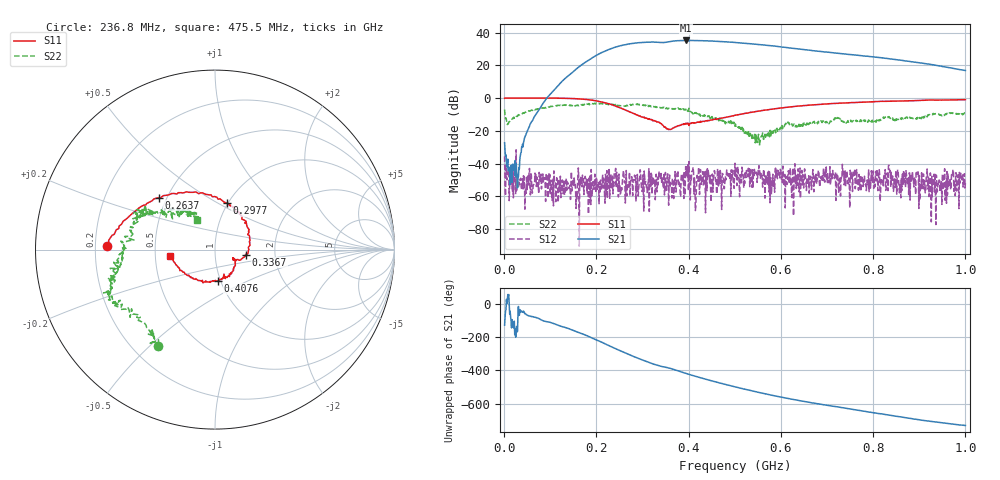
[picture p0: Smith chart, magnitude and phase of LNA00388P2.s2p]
! Created with skrf 1.9.0 (http://scikit-rf.org).
# Hz S RI R 50.0
!freq ReS11 ImS11 ReS21 ImS21 ReS12 ImS12 ReS22 ImS22
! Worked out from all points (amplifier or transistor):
!   1001 points, 1 MHz to 1 GHz, reference 50 ohm
!   highest |S21| = 35.2 dB at 394.6 MHz (marker M1)
!   |S21| within 3 dB of that: 255.7 MHz to 570.7 MHz (315 MHz wide, 76.2 % of centre)
!   unconditionally stable (mu >= 1): 243.9 MHz to 294.5 MHz; 295.5 MHz to 400.5 MHz; 400.7 MHz to end of sweep (the widest 3 of 41)
!   at 166.8 MHz: K = 2.17, MAG = 30.1 dB, |S12| = -52.5 dB
!   at 500.5 MHz: K = 1.10, MAG = 35.0 dB, |S12| = -39.8 dB
!   at 1 GHz: K = 4.76, MAG = 24.7 dB, |S12| = -52.1 dB
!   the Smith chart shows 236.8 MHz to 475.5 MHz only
!   S11 on the Smith chart (normalised r, x): 236.8 MHz: 0.25, +0.02; 263.7 MHz: 0.45, +0.32; 297.7 MHz: 0.99, +0.55; 336.7 MHz: 1.42, -0.08; 407.6 MHz: 0.97, -0.35; 475.5 MHz: 0.60, -0.04
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1000000  0.9841 -0.0107  -0.0251 -0.0354  -0.00925 0.0139  0.3633 0.2633
1.09891e8  0.5208 -0.849  -0.8829 -1.63  -0.00242 -0.00109  0.436 -0.38
1.67833e8  -0.2085 -0.9061  -10.27 -0.6304  -0.00248 -0.00188  0.0267 -0.615
2.07793e8  -0.6425 -0.4444  -16.45 16.08  0.00107 0.0006  -0.2088 -0.6545
2.36764e8  -0.6013 0.0206  -4.917 33.76  -0.00174 -0.0021  -0.3153 -0.5393
2.63737e8  -0.3142 0.2891  18.34 38.52  -0.00147 -0.00156  -0.458 -0.3587
2.97703e8  0.0645 0.2596  44.61 21.08  0.00167 -0.000772  -0.5792 -0.2046
3.16684e8  0.1773 0.1346  50.51 5.066  -0.000323 0.00263  -0.5524 -0.1038
3.34666e8  0.1855 -0.0121  49.32 -9.444  -0.00126 0.00313  -0.5133 -0.012
3.36664e8  0.1738 -0.0279  48.92 -10.89  0.00118 0.00362  -0.5183 -0.0189
3.68632e8  0.1121 -0.0602  45.49 -31.2  -0.00119 0.0025  -0.4401 0.1786
3.94606e8  0.0756 -0.1446  30.07 -48.68  -0.00325 0.00278  -0.4075 0.1867
4.07593e8  0.0156 -0.1744  20.1 -53.26  0.00392 0.00443  -0.2991 0.203
4.39561e8  -0.1224 -0.1584  -4.582 -55.3  0.00126 -0.000748  -0.1659 0.223
4.75525e8  -0.2494 -0.0331  -27.41 -44.89  0.00325 0.00053  -0.0993 0.1666
5.005e8  -0.2837 0.0973  -37.66 -32.71  0.00973 0.00329  -0.0636 0.122
5.4046e8  -0.2323 0.2945  -42.97 -11.22  0.00286 -0.00502  -0.0277 0.0527
5.88412e8  -0.0559 0.4727  -36.9 9.646  0.00673 -0.00276  -0.0735 -0.0463
6.67333e8  0.3096 0.532  -15.73 23.27  0.00283 -0.00137  -0.1735 -0.00843
7.55245e8  0.6252 0.3727  1.883 20.8  0.000858 -0.00111  -0.1897 0.0531
8.34166e8  0.7823 0.145  10.2 12.16  -0.00759 -0.00467  -0.273 0.00109
1e9  0.8131 -0.3768  6.765 -1.533  -0.00193 0.00158  -0.2677 0.2027
